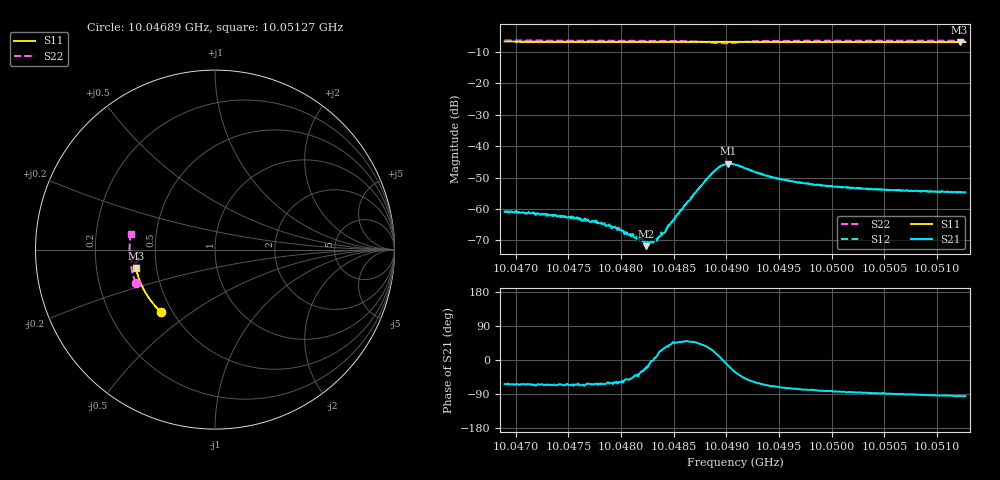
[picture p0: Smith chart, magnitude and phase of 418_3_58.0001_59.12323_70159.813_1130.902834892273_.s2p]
#  HZ  S  RI  R  50.00
! Rohde & Schwarz Vector Network Analyzer
! Rohde-Schwarz,ZNB20-2Port,1311601062101988,3.16
! Created: UTC 3/21/2024, 1:09:02 AM
! freq[Hz]  re:S11  im:S11  re:S21  im:S21  re:S12  im:S12  re:S22  im:S22
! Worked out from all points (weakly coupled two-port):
!   401 points, 10.04689 GHz to 10.05127 GHz, reference 50 ohm
!   highest |S21| = -45.62 dB at 10.04902 GHz (marker M1); lowest = -71.8 dB at 10.04824 GHz (marker M2)
!   lowest |S11| = -6.9 dB at 10.05122 GHz (marker M3), VSWR 2.65, Z = 19.1 - j5 ohm
!   |S11| at or under -10 dB: nowhere
!   |S22| runs from -7.3 to -6.4 dB; largest |S21 - S12| = 0.00036
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1.0046894e10  -0.3017 -0.3469  0.000404 -0.000813  0.000465 -0.000775  -0.4425 -0.1862
1.0047146e10  -0.3135 -0.3355  0.000348 -0.000772  0.000407 -0.000763  -0.4484 -0.1702
1.0047627e10  -0.3353 -0.3123  0.000264 -0.000589  0.00035 -0.000584  -0.4579 -0.1387
1.0047868e10  -0.3455 -0.3  0.000272 -0.000479  0.000288 -0.000502  -0.4619 -0.122
1.0047955e10  -0.3492 -0.2955  0.000271 -0.000415  0.000285 -0.000404  -0.4632 -0.1158
1.0048152e10  -0.3572 -0.2855  0.000263 -0.000205  0.000292 -0.000219  -0.4656 -0.1012
1.0048207e10  -0.3593 -0.2825  0.000275 -0.000165  0.000274 -0.000129  -0.4659 -0.097
1.004824e10  -0.3605 -0.2807  0.000244 -7.72e-05  0.000278 -7.13e-05  -0.4662 -0.0946
1.0048262e10  -0.3614 -0.2795  0.000266 -5.95e-05  0.000289 -4.68e-05  -0.4664 -0.0928
1.0048305e10  -0.3631 -0.2771  0.000292 -9.52e-06  0.000326 1.39e-05  -0.4665 -0.0893
1.004836e10  -0.3651 -0.2743  0.000344 0.000124  0.000335 0.000142  -0.4666 -0.0847
1.0048415e10  -0.3672 -0.2713  0.000357 0.000222  0.00035 0.000253  -0.4666 -0.08
1.0048579e10  -0.3732 -0.2623  0.000655 0.000708  0.000623 0.000814  -0.4647 -0.065
1.0048842e10  -0.3824 -0.2476  0.00289 0.00171  0.00282 0.00185  -0.4438 -0.042
1.004894e10  -0.3854 -0.242  0.00469 0.000581  0.00467 0.000862  -0.4286 -0.0489
1.0049017e10  -0.3879 -0.238  0.00506 -0.00134  0.00516 -0.00103  -0.4282 -0.063
1.0049082e10  -0.3902 -0.2345  0.00432 -0.00269  0.00452 -0.00241  -0.4374 -0.0704
1.0049421e10  -0.4009 -0.215  0.00116 -0.00301  0.00139 -0.00295  -0.4691 -0.0474
1.0049815e10  -0.412 -0.1915  0.000483 -0.00239  0.000606 -0.00239  -0.4755 -0.0149
1.0050548e10  -0.4289 -0.1464  2.99e-05 -0.00202  0.000157 -0.00199  -0.475 0.0375
1.0051215e10  -0.4399 -0.1042  -0.000148 -0.00185  -5.49e-05 -0.00184  -0.4692 0.0822
1.005127e10  -0.4408 -0.1008  -0.000175 -0.00183  -0.000101 -0.00182  -0.4684 0.0856
